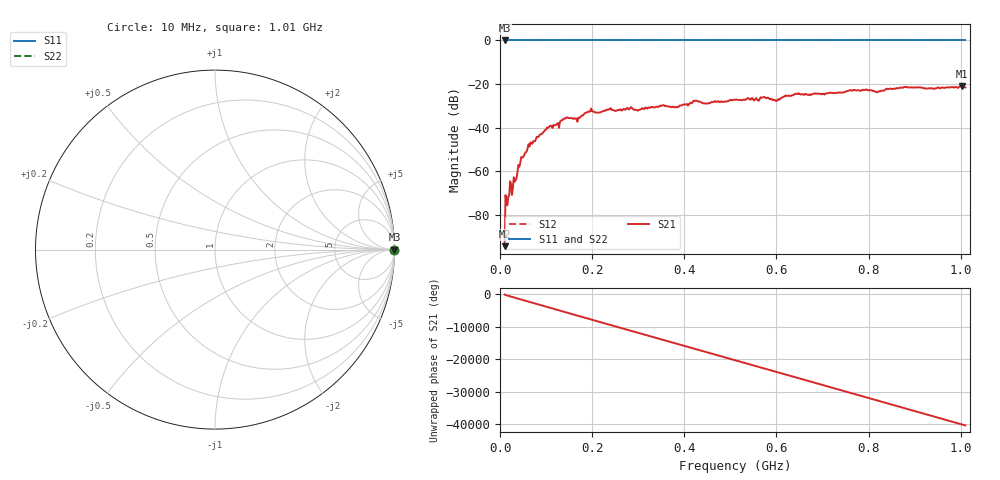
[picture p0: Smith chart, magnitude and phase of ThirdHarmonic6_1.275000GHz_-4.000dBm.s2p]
! 8/16/2025 1:49:16 PM
! C:\ANRITSUVNA\TEMP\TEMP.S2P
! CHANNEL.1
! TR.MEASUREMENT
! RAW.DATA
! RF.CORRECTION.OFF
! AVERAGING.OFF
! IF.BANDWIDTH: 5KHZ
! SWEEPTYPE:  FREQ.SWEEP(Linear)
! Reference Plane Port Info
! PORT:  PORT1  PORT2
! DISTANCE:  0  m  0  m
! TIME:  0  s  0  s
! PHASE.OFFSET:  0  deg.  0  deg.
! LOSS:  0  dB  0  dB
! REF.LOSS:  0  dB  0  dB
! REF.FREQ:  0  Hz  0  Hz
! Power Info
! POWER:  -20  dBm  -20  dBm
! EFF.POWER:  -20  dBm  -20  dBm
! SOURCE.ATTEN:  0  dB  0  dB
! TEST.ATTEN:  0  dB  0  dB
# GHZ S RI R 50.0
! FREQ.GHZ  S11RE  S11IM  S21RE  S21IM  S12RE  S12IM  S22RE  S22IM
!; PortSelection: Port_12
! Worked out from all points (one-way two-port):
!   501 points, 10 MHz to 1.01 GHz, reference 50 ohm
!   highest |S21| = -20.97 dB at 1.002 GHz (marker M1); lowest = -94.3 dB at 10 MHz (marker M2)
!   lowest |S11| = 0.0 dB at 10 MHz (marker M3)
!   |S11| at or under -10 dB: nowhere
!   |S22| runs from 0.0 to 0.0 dB; largest |S21 - S12| = 1.1
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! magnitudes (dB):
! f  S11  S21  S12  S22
! 10 MHz  0.0  -94.3  0.0  0.0
! 26 MHz  0.0  -70.8  0.0  0.0
! 30 MHz  0.0  -62.7  0.0  0.0
! 44 MHz  0.0  -56.1  0.0  0.0
! 64 MHz  0.0  -48.6  0.0  0.0
! 106 MHz  0.0  -39.8  0.0  0.0
! 142 MHz  0.0  -35.8  0.0  0.0
! 168 MHz  0.0  -37.2  0.0  0.0
! 178 MHz  0.0  -34.4  0.0  0.0
! 196 MHz  0.0  -32.4  0.0  0.0
! 344 MHz  0.0  -30.5  0.0  0.0
! 384 MHz  0.0  -30.6  0.0  0.0
! 424 MHz  0.0  -27.7  0.0  0.0
! 446 MHz  0.0  -28.9  0.0  0.0
! 510 MHz  0.0  -27.2  0.0  0.0
! 570 MHz  0.0  -26.1  0.0  0.0
! 602 MHz  0.0  -27.3  0.0  0.0
! 644 MHz  0.0  -24.4  0.0  0.0
! 678 MHz  0.0  -24.6  0.0  0.0
! 844 MHz  0.0  -22.2  0.0  0.0
! 1.002 GHz  0.0  -21.0  0.0  0.0
! 1.01 GHz  0.0  -21.5  0.0  0.0
